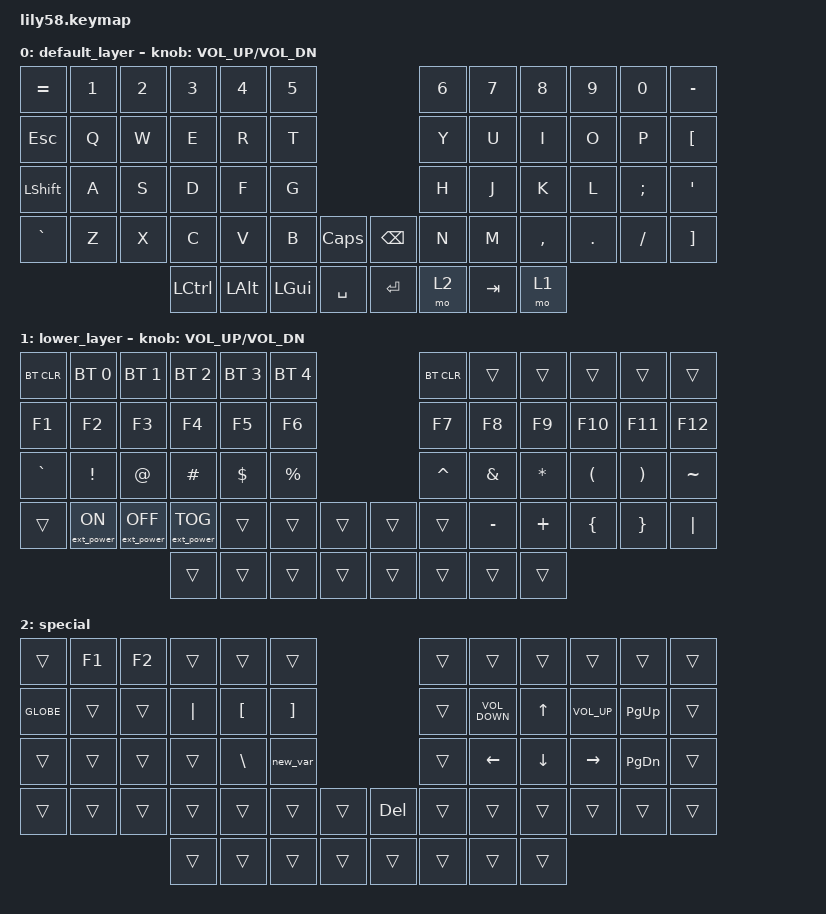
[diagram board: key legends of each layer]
/*
 * Copyright (c) 2020 The ZMK Contributors
 *
 * SPDX-License-Identifier: MIT
 */

#include <behaviors.dtsi>
#include <dt-bindings/zmk/bt.h>
#include <dt-bindings/zmk/ext_power.h>
#include <dt-bindings/zmk/keys.h>

/ {
    macros {
        new_var: new_macro {
            compatible = "zmk,behavior-macro";
            #binding-cells = <0>;
            bindings = <&kp COLON &kp EQUAL>;
            label = "NEW_MACRO";
        };
    };

    keymap {
        compatible = "zmk,keymap";

        default_layer {
            // ------------------------------------------------------------------------------------------------------------
            // |  ESC  |  1  |  2  |  3   |  4   |  5   |                   |  6   |  7    |  8    |  9   |   0   |   `   |
            // |  TAB  |  Q  |  W  |  E   |  R   |  T   |                   |  Y   |  U    |  I    |  O   |   P   |   -   |
            // |  CTRL |  A  |  S  |  D   |  F   |  G   |                   |  H   |  J    |  K    |  L   |   ;   |   '   |
            // | SHIFT |  Z  |  X  |  C   |  V   |  B   |   "["  |  |  "]"  |  N   |  M    |  ,    |  .   |   /   | SHIFT |
            //                     | ALT  | GUI  | LOWER|  SPACE |  | ENTER | RAISE| BSPC  | GUI   |

            bindings = <
&kp EQUAL       &kp N1  &kp N2  &kp N3     &kp N4        &kp N5                                &kp N6  &kp N7   &kp N8     &kp N9   &kp N0    &kp MINUS
&kp ESCAPE      &kp Q   &kp W   &kp E      &kp R         &kp T                                 &kp Y   &kp U    &kp I      &kp O    &kp P     &kp LEFT_BRACKET
&kp LEFT_SHIFT  &kp A   &kp S   &kp D      &kp F         &kp G                                 &kp H   &kp J    &kp K      &kp L    &kp SEMI  &kp SQT
&kp GRAVE       &kp Z   &kp X   &kp C      &kp V         &kp B     &kp CAPS     &kp BACKSPACE  &kp N   &kp M    &kp COMMA  &kp DOT  &kp FSLH  &kp RIGHT_BRACKET
                                &kp LCTRL  &kp LEFT_ALT  &kp LGUI  &kp SPACE    &kp RET        &mo 2   &kp TAB  &mo 1
            >;

            sensor-bindings = <&inc_dec_kp C_VOL_UP C_VOL_DN>;
        };

        lower_layer {
            // ------------------------------------------------------------------------------------------------------------
            // | BTCLR | BT1 | BT2 |  BT3 |  BT4 |  BT5 |                   |  BTCLR  |       |       |      |       |       |
            // |  F1   |  F2 |  F3 |  F4  |  F5  |  F6  |                   |   F7    |  F8   |  F9   |  F10 |  F11  |  F12  |
            // |   `   |  !  |  @  |  #   |  $   |  %   |                   |   ^     |  &    |  *    |  (   |   )   |   ~   |
            // |       |     |     |      |      |      |        |  |       |         |  _    |  +    |  {   |   }   |  "|"  |
            //                     |      |      |      |        |  |       |         |       |       |

            bindings = <
&bt BT_CLR  &bt BT_SEL 0      &bt BT_SEL 1       &bt BT_SEL 2       &bt BT_SEL 3  &bt BT_SEL 4                    &bt BT_CLR  &trans     &trans     &trans    &trans    &trans
&kp F1      &kp F2            &kp F3             &kp F4             &kp F5        &kp F6                          &kp F7      &kp F8     &kp F9     &kp F10   &kp F11   &kp F12
&kp GRAVE   &kp EXCL          &kp AT             &kp HASH           &kp DOLLAR    &kp PRCNT                       &kp CARET   &kp AMPS   &kp ASTRK  &kp LPAR  &kp RPAR  &kp TILDE
&trans      &ext_power EP_ON  &ext_power EP_OFF  &ext_power EP_TOG  &trans        &trans        &trans    &trans  &trans      &kp MINUS  &kp PLUS   &kp LBRC  &kp RBRC  &kp PIPE
                                                 &trans             &trans        &trans        &trans    &trans  &trans      &trans     &trans
            >;

            sensor-bindings = <&inc_dec_kp C_VOL_UP C_VOL_DN>;
        };

        special {
            bindings = <
&trans     &kp F1  &kp F2  &trans    &trans            &trans                                &trans  &trans             &trans          &trans           &trans         &trans
&kp GLOBE  &trans  &trans  &kp PIPE  &kp LEFT_BRACKET  &kp RIGHT_BRACKET                     &trans  &kp C_VOLUME_DOWN  &kp UP_ARROW    &kp C_VOLUME_UP  &kp PAGE_UP    &trans
&trans     &trans  &trans  &trans    &kp BACKSLASH     &new_var                              &trans  &kp LEFT           &kp DOWN_ARROW  &kp RIGHT_ARROW  &kp PAGE_DOWN  &trans
&trans     &trans  &trans  &trans    &trans            &trans             &trans    &kp DEL  &trans  &trans             &trans          &trans           &trans         &trans
                           &trans    &trans            &trans             &trans    &trans   &trans  &trans             &trans
            >;
        };
    };
};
